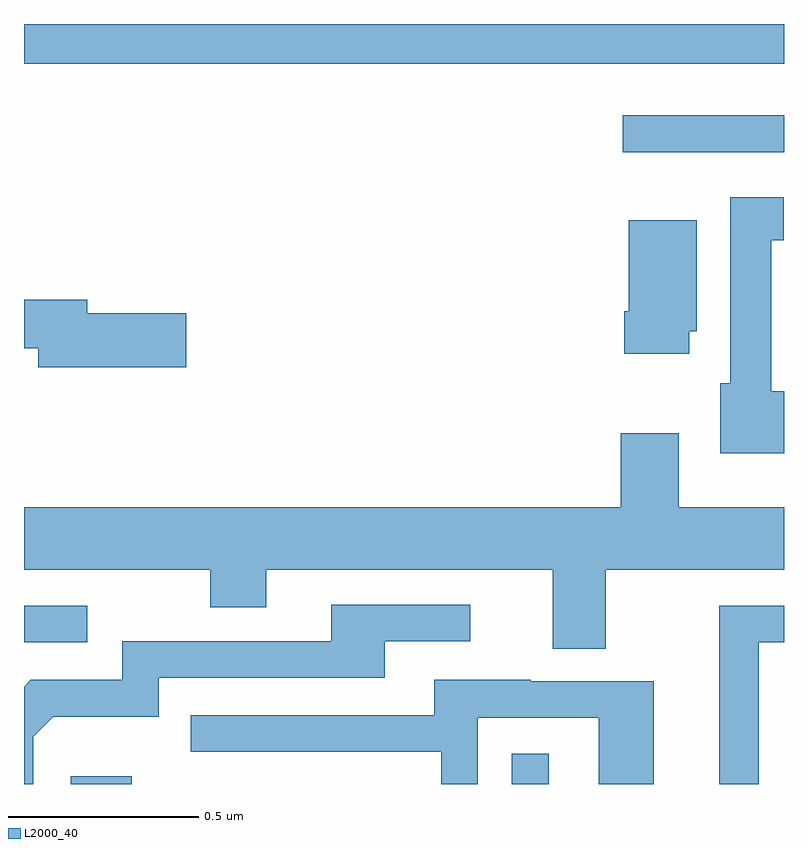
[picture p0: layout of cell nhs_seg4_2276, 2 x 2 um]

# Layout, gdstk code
import gdstk
lib = gdstk.Library(unit=1e-6, precision=1e-09)
def R(c, l, rs):  # rectangles x0, y0, x1, y1
    for r in rs: c.add(gdstk.rectangle(r[:2], r[2:], *l))
def P(c, l, *ps):  # polygons
    for p in ps: c.add(gdstk.Polygon(p, *l))
L2000_40 = (2000, 40)

nhs_seg4_2276 = lib.new_cell('nhs_seg4_2276')
R(nhs_seg4_2276, L2000_40, [(138.123,818.9,138.284,818.92), (139.284,818.9,139.381,818.98), (138,819.273,138.166,819.369), (139.575,820.563,140,820.66), (138,820.796,140,820.9)])
P(nhs_seg4_2276, L2000_40, [(140,819.934),(139.966,819.934),(139.966,820.331),(139.999,820.331),(139.999,820.444),(139.859,820.444),(139.859,819.954),(139.832,819.954),(139.832,819.77),(140,819.77)],
  [(139.75,820.092),(139.771,820.092),(139.771,820.384),(139.592,820.384),(139.592,820.144),(139.58,820.144),(139.58,820.032),(139.75,820.032)],
  [(138.427,820.139),(138.166,820.139),(138.166,820.175),(138,820.175),(138,820.047),(138.038,820.047),(138.038,819.997),(138.427,819.997)],
  [(139.531,819.464),(140,819.464),(140,819.628),(139.723,819.628),(139.723,819.823),(139.571,819.823),(139.571,819.628),(138,819.628),(138,819.464),(138.49,819.464),(138.49,819.365),(138.637,819.365),(138.637,819.464),(139.391,819.464),(139.391,819.256),(139.531,819.256)],
  [(138.024,819.024),(138.077,819.077),(138.354,819.077),(138.354,819.18),(138.949,819.18),(138.949,819.276),(139.174,819.276),(139.174,819.372),(138.809,819.372),(138.809,819.276),(138.258,819.276),(138.258,819.174),(138.018,819.174),(138,819.156),(138,818.9),(138.024,818.9)],
  [(139.933,819.273),(140,819.273),(140,819.369),(139.829,819.369),(139.829,818.9),(139.933,818.9)],
  [(139.194,819.075),(139.512,819.075),(139.512,818.9),(139.657,818.9),(139.657,819.171),(139.333,819.171),(139.333,819.175),(139.079,819.175),(139.079,819.081),(138.439,819.081),(138.439,818.985),(139.098,818.985),(139.098,818.9),(139.194,818.9)])

lib.write_gds('nhs_seg4_2276.gds')
